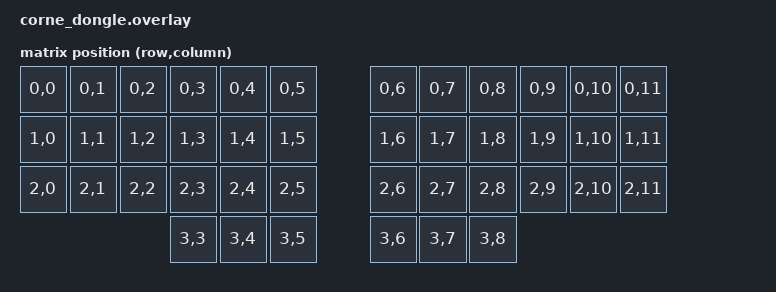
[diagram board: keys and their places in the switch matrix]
#include <dt-bindings/zmk/matrix_transform.h>

/ {
    chosen {
        zmk,kscan = &mock_kscan;
        zmk,matrix_transform = &default_transform;
        zephyr,display = &st7789;
    };

    mock_kscan: mock_kscan_0 {
        compatible = "zmk,kscan-mock";
        columns = <0>;
        rows = <0>;
        events = <0>;
    };

    default_transform: keymap_transform_0 {
        compatible = "zmk,matrix-transform";
        columns = <12>;
        rows = <4>;
        
        // Corne 3x6+3 layout
        // ┌───┬───┬───┬───┬───┬───┐       ┌───┬───┬───┬───┬───┬───┐
        // │ 0 │ 1 │ 2 │ 3 │ 4 │ 5 │       │ 6 │ 7 │ 8 │ 9 │10 │11 │
        // ├───┼───┼───┼───┼───┼───┤       ├───┼───┼───┼───┼───┼───┤
        // │12 │13 │14 │15 │16 │17 │       │18 │19 │20 │21 │22 │23 │
        // ├───┼───┼───┼───┼───┼───┤       ├───┼───┼───┼───┼───┼───┤
        // │24 │25 │26 │27 │28 │29 │       │30 │31 │32 │33 │34 │35 │
        // └───┴───┴───┼───┼───┼───┤       ├───┼───┼───┼───┴───┴───┘
        //             │36 │37 │38 │       │39 │40 │41 │
        //             └───┴───┴───┘       └───┴───┴───┘
        
        map = <
            RC(0,0) RC(0,1) RC(0,2) RC(0,3) RC(0,4) RC(0,5)  RC(0,6) RC(0,7) RC(0,8) RC(0,9) RC(0,10) RC(0,11)
            RC(1,0) RC(1,1) RC(1,2) RC(1,3) RC(1,4) RC(1,5)  RC(1,6) RC(1,7) RC(1,8) RC(1,9) RC(1,10) RC(1,11)
            RC(2,0) RC(2,1) RC(2,2) RC(2,3) RC(2,4) RC(2,5)  RC(2,6) RC(2,7) RC(2,8) RC(2,9) RC(2,10) RC(2,11)
                            RC(3,3) RC(3,4) RC(3,5)  RC(3,6) RC(3,7) RC(3,8)
        >;
    };
};

/* Enable SPI used by the WaveShare 1.69" display */
&xiao_spi0 {
    status = "okay";

    st7789: st7789v2@0 {
        compatible = "sitronix,st7789v2";
        reg = <0>;
        status = "okay";

        /* SPI bus frequency */
        spi-max-frequency = <8000000>;

        /* WaveShare 1.69" pinout for XIAO BLE */
        cs-gpios = <&xiao_d 3 GPIO_ACTIVE_LOW>;    /* CS → D3 */
        dc-gpios = <&xiao_d 1 GPIO_ACTIVE_HIGH>;   /* DC → D1 */
        reset-gpios = <&xiao_d 0 GPIO_ACTIVE_LOW>; /* RST → D0 */

        width = <240>;
        height = <280>;

        /* Orientation – adjust if display is rotated */
        rotation = <0>;

        /* Optional: backlight control */
        // backlight-gpios = <&xiao_d 6 GPIO_ACTIVE_HIGH>; /* BL → D6 */
    };
};
